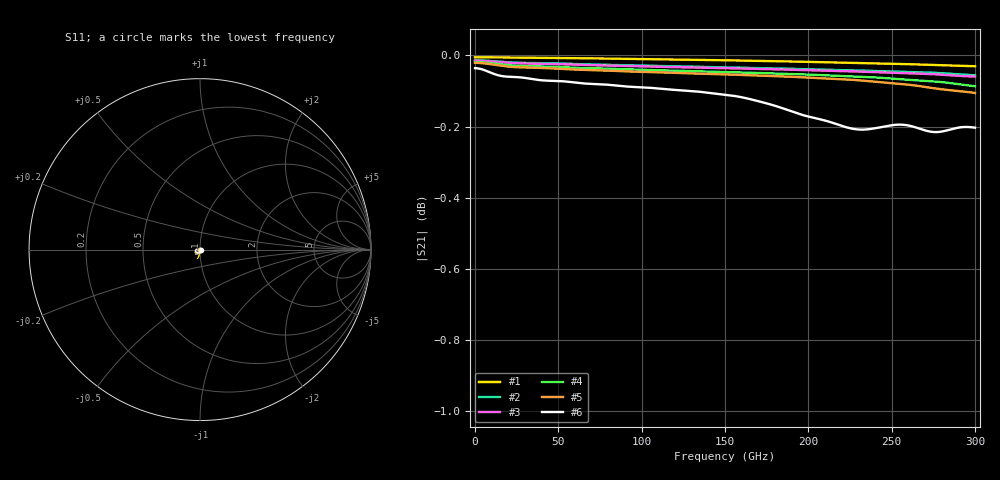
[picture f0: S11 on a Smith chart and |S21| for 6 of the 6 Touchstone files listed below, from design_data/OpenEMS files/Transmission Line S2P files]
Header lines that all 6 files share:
#  Hz  S  RI  R  50
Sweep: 100 MHz to 300 GHz
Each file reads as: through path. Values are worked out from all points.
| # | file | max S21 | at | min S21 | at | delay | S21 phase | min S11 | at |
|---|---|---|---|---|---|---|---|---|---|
| 1 | 9_um.s2p | -0.01 dB | 100 MHz | 0.0 dB | 300 GHz | 132 fs | -7 deg at 150.1 GHz | -64.9 dB | 100 MHz |
| 2 | 42_um.s2p | -0.01 dB | 100 MHz | -0.1 dB | 300 GHz | 355 fs | -19 deg at 150.1 GHz | -55.9 dB | 100 MHz |
| 3 | 46_um.s2p | -0.01 dB | 100 MHz | -0.1 dB | 300 GHz | 381 fs | -21 deg at 150.1 GHz | -55.3 dB | 100 MHz |
| 4 | 64_um.s2p | -0.02 dB | 100 MHz | -0.1 dB | 300 GHz | 497 fs | -27 deg at 150.1 GHz | -53.3 dB | 100 MHz |
| 5 | 75_um.s2p | -0.02 dB | 100 MHz | -0.1 dB | 300 GHz | 568 fs | -31 deg at 150.1 GHz | -52.2 dB | 100 MHz |
| 6 | 155_um.s2p | -0.04 dB | 100 MHz | -0.2 dB | 276.5 GHz | 1.07 ps | -58 deg at 150.1 GHz | -47.4 dB | 100 MHz |
